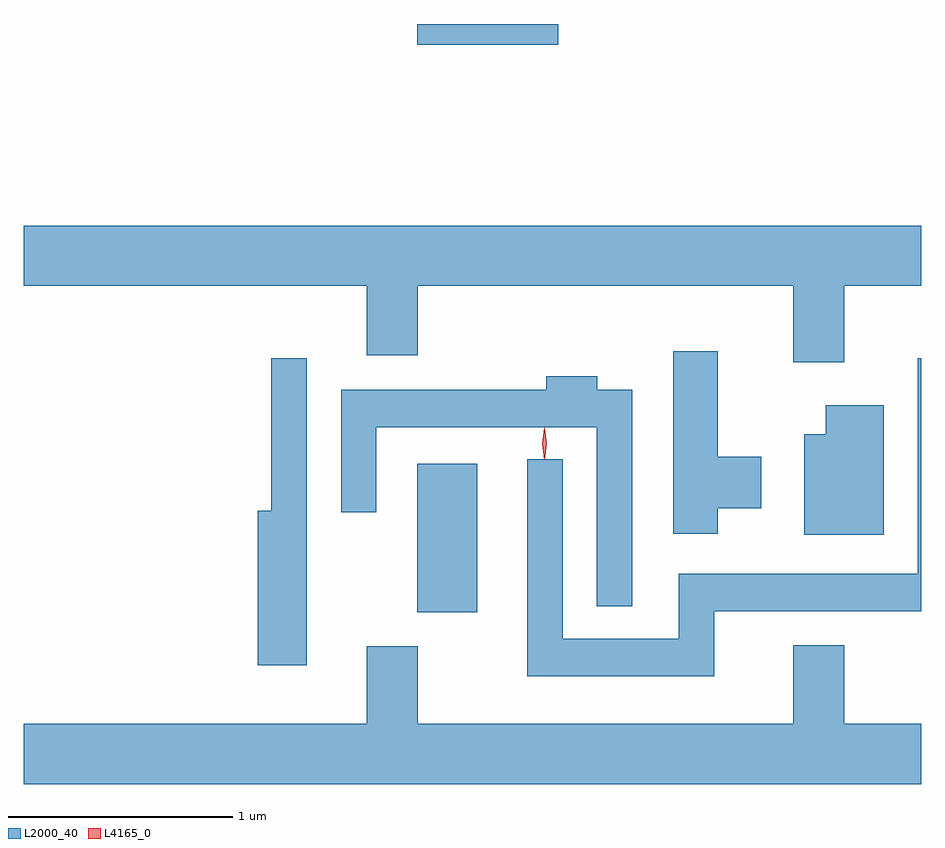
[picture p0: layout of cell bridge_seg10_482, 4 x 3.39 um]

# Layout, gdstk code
import gdstk
lib = gdstk.Library(unit=1e-6, precision=1e-09)
def R(c, l, rs):  # rectangles x0, y0, x1, y1
    for r in rs: c.add(gdstk.rectangle(r[:2], r[2:], *l))
def P(c, l, *ps):  # polygons
    for p in ps: c.add(gdstk.Polygon(p, *l))
L2000_40 = (2000, 40)
L4165_0 = (4165, 0)

bridge_seg10_482 = lib.new_cell('bridge_seg10_482')
R(bridge_seg10_482, L2000_40, [(869.056,2167.961,869.324,2168.624)])
P(bridge_seg10_482, L2000_40, [(869.684,2170.583),(867.302,2170.583),(867.302,2170.581),(869.056,2170.581),(869.056,2170.491),(869.684,2170.491)],
  [(870.959,2169.416),(871.302,2169.416),(871.302,2169.684),(867.302,2169.684),(867.302,2169.416),(868.831,2169.416),(868.831,2169.106),(869.059,2169.106),(869.059,2169.416),(870.731,2169.416),(870.731,2169.076),(870.959,2169.076)],
  [(870.394,2168.426),(870.589,2168.426),(870.589,2168.654),(870.394,2168.654),(870.394,2169.124),(870.196,2169.124),(870.196,2168.311),(870.394,2168.311)],
  [(870.379,2167.966),(871.302,2167.966),(871.302,2169.093),(871.286,2169.093),(871.286,2168.134),(870.221,2168.134),(870.221,2167.844),(869.704,2167.844),(869.704,2168.643),(869.546,2168.643),(869.546,2167.676),(870.379,2167.676)],
  [(868.564,2169.093),(868.406,2169.093),(868.406,2168.414),(868.346,2168.414),(868.346,2167.726),(868.564,2167.726)],
  [(870.014,2168.954),(869.859,2168.954),(869.859,2169.014),(869.631,2169.014),(869.631,2168.954),(868.716,2168.954),(868.716,2168.408),(868.874,2168.408),(868.874,2168.786),(869.856,2168.786),(869.856,2167.988),(870.014,2167.988)],
  [(871.134,2168.884),(870.876,2168.884),(870.876,2168.754),(870.781,2168.754),(870.781,2168.306),(871.134,2168.306)],
  [(871.302,2167.464),(870.959,2167.464),(870.959,2167.814),(870.731,2167.814),(870.731,2167.464),(869.059,2167.464),(869.059,2167.809),(868.831,2167.809),(868.831,2167.464),(867.302,2167.464),(867.302,2167.196),(871.302,2167.196)])
P(bridge_seg10_482, L4165_0, [(869.622,2168.644),(869.613,2168.713),(869.622,2168.782),(869.623,2168.783),(869.623,2168.782),(869.633,2168.713),(869.623,2168.644),(869.623,2168.644)],
  [(869.623,2168.647),(869.623,2168.648),(869.613,2168.714),(869.622,2168.78),(869.623,2168.78),(869.623,2168.78),(869.633,2168.714),(869.624,2168.648)])

lib.write_gds('bridge_seg10_482.gds')
